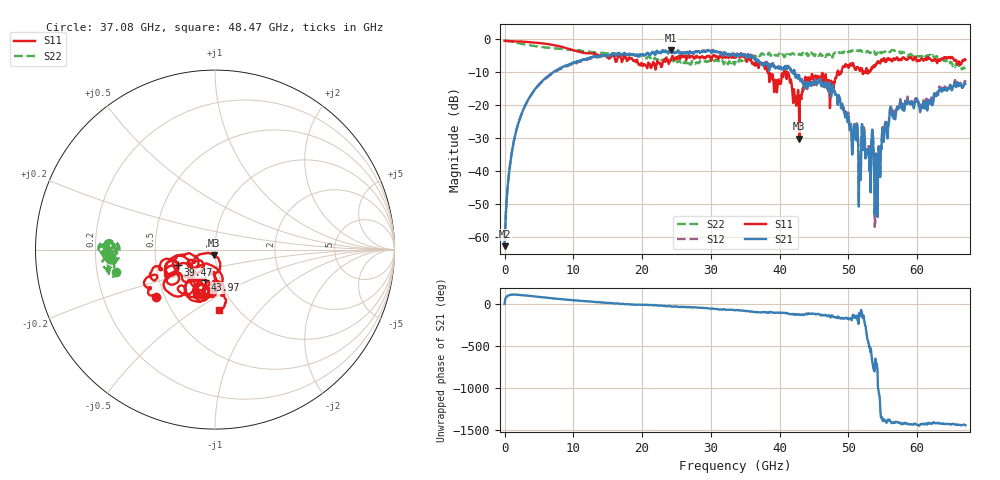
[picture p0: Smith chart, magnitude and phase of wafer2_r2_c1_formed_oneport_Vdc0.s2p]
!Keysight Technologies,N5227A,US51270248,A.10.65.08
!Date: Tuesday, June 11, 2024 07:48:29
!Correction: S11(Full 2 Port(1,4))
!S41(Full 2 Port(1,4))
!S14(Full 2 Port(1,4))
!S44(Full 2 Port(1,4))
!S2P File: Measurements: S11, S41, S14, S44:
# Hz S  dB  R 50
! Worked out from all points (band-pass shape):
!   3201 points, 10 MHz to 67 GHz, reference 50 ohm
!   highest |S21| = -3.24 dB at 24.19 GHz (marker M1); lowest = -62.7 dB at 10 MHz (marker M2)
!   |S21| within 3 dB of the highest: 11.35 GHz to 36.41 GHz (25.07 GHz wide, 105 % of centre); 36.42219 GHz to 36.57014 GHz (148 MHz wide, 0.405 % of centre)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
!   lowest |S11| = -30.1 dB at 42.86 GHz (marker M3), VSWR 1.06, Z = 49.5 - j3.06 ohm
!   |S11| at or under -10 dB: 38.38 GHz to 40.6 GHz (2.214 GHz wide, 5.61 % of centre); 41.19 GHz to 48.39 GHz (7.207 GHz wide, 16.1 % of centre); 48.55 GHz to 48.91 GHz (364 MHz wide, 0.747 % of centre)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
!   |S22| runs from -9.2 to -0.3 dB; largest |S21 - S12| = 0.053
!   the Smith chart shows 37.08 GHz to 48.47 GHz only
!   S11 on the Smith chart (normalised r, x): 37.08 GHz: 0.45, -0.29; 39.47 GHz: 0.65, -0.12; 43.97 GHz: 0.85, -0.29; 48.47 GHz: 0.83, -0.63
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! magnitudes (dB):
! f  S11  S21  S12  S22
! 10 MHz  -0.5  -62.7  -62.2  -0.3
! 1.057 GHz  -0.6  -34.3  -34.2  -0.7
! 2.878 GHz  -0.7  -20.6  -20.6  -1.5
! 11.19 GHz  -3.9  -6.3  -6.6  -3.5
! 22.35 GHz  -7.0  -3.8  -3.9  -5.9
! 24.19 GHz  -6.0  -3.2  -3.3  -6.3
! 33.51 GHz  -5.5  -5.0  -5.0  -7.2
! 37.08 GHz  -7.5  -6.9  -6.9  -4.9
! 39.47 GHz  -13.0  -8.6  -8.7  -4.7
! 40.98 GHz  -11.4  -8.9  -8.9  -4.5
! 42.86 GHz  -30.1  -11.4  -11.3  -4.4
! 43.97 GHz  -15.1  -14.4  -13.9  -4.2
! 44.68 GHz  -10.5  -13.6  -13.2  -4.3
! 47.55 GHz  -12.9  -16.8  -16.2  -4.6
! 48.47 GHz  -9.4  -19.3  -19.1  -4.3
! 51.09 GHz  -9.0  -30.5  -29.8  -3.4
! 51.57 GHz  -9.0  -36.6  -35.3  -3.6
! 52.18 GHz  -9.7  -30.0  -29.4  -3.5
! 53.41 GHz  -8.4  -28.8  -28.4  -4.3
! 53.98 GHz  -7.5  -35.1  -35.3  -4.5
! 55.84 GHz  -5.8  -25.9  -25.2  -3.4
! 67 GHz  -6.2  -13.5  -13.0  -8.6
